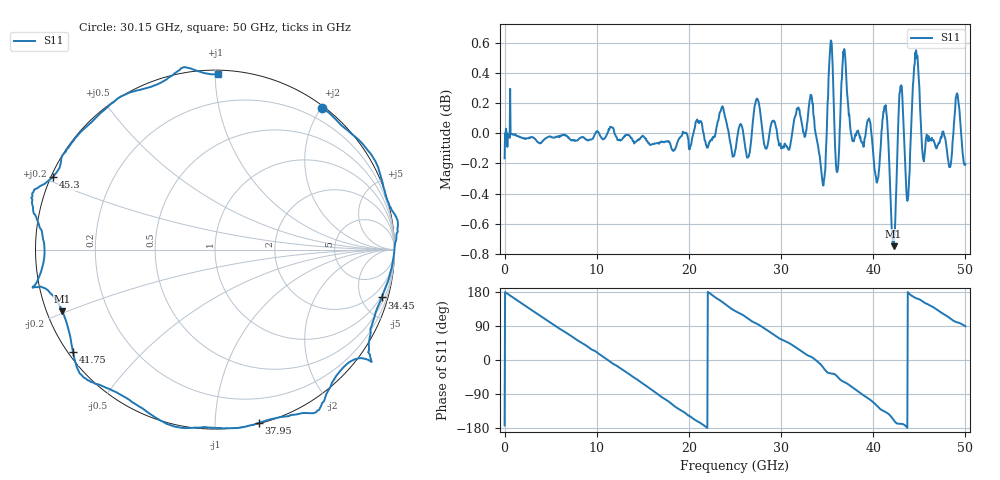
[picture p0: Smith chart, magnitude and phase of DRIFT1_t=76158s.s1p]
!Created with skrf (http://scikit-rf.org).
# Hz S RI R 50.0
!freq ReS11 ImS11
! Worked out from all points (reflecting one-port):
!   1001 points, 300 kHz to 50 GHz, reference 50 ohm
!   lowest |S11| = -0.8 dB at 42.2 GHz (marker M1), VSWR 23.16, Z = 2.24 - j9.71 ohm
!   phase of S11 starts at -173 deg and turns -818 deg over the sweep
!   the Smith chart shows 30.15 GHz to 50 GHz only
!   S11 on the Smith chart (normalised r, x): 30.15 GHz: 0.03, +2.01; 34.45 GHz: 0.88, -7.00; 37.95 GHz: 0.01, -1.28; 41.75 GHz: 0.01, -0.32; 45.3 GHz: 0.01, +0.21; 50 GHz: 0.02, +1.02
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300000  -0.9734 -0.1228
1.450291e9  -0.9125 0.404
3.25028e9  -0.5931 0.8002
6.250262e9  0.1987 0.9786
9.500243e9  0.8875 0.4514
1.250022e10  0.9304 -0.3518
1.580021e10  0.2425 -0.9611
1.74002e10  -0.2232 -0.9683
1.875019e10  -0.5987 -0.7923
2.165017e10  -0.9902 -0.1228
2.345016e10  -0.9303 0.4116
2.500015e10  -0.6275 0.7609
2.745014e10  -0.0836 1.023
3.015012e10  0.5964 0.7888
3.125011e10  0.7822 0.6279
3.32001e10  1.017 0.1655
3.445009e10  0.9285 -0.2667
3.520009e10  0.865 -0.5973
3.750008e10  0.3773 -0.9312
3.795007e10  0.2445 -0.9651
3.965006e10  -0.2537 -0.9764
4.175005e10  -0.7914 -0.5697
4.220005e10  -0.8503 -0.3439
4.290004e10  -1.011 -0.2094
4.375004e10  -0.9506 0.0134
4.530003e10  -0.9017 0.4057
4.765001e10  -0.5144 0.8572
5e10  0.0192 0.9766
